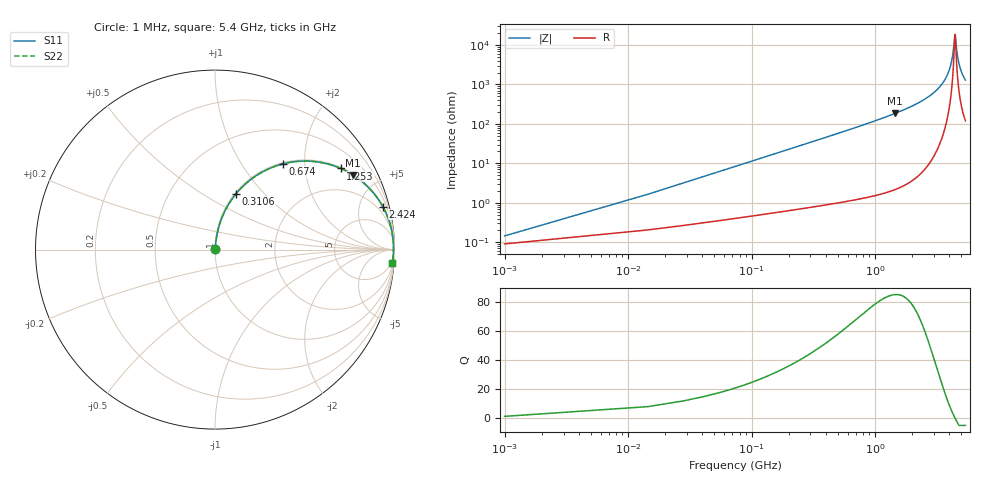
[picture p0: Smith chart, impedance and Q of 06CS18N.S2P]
! Coilcraft 0603CS-18N Chip Inductor
! 21 May 2002
# MHZ S MA R 50
!Freq  MagS11  AngS11  MagS21  AngS21  MagS12  AngS12  MagS22  AngS22
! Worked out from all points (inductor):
!   403 points, 1 MHz to 5.4 GHz, reference 50 ohm
!   read as one part in series: L = 18 nH near 27.92 MHz
!   highest Q = 85 at 1.455 GHz (marker M1), where L = 20.2 nH
!   self-resonance near 4.443 GHz
!   S11 on the Smith chart (normalised r, x): 1 MHz: 1.00, +0.00; 310.6 MHz: 1.02, +0.71; 674 MHz: 1.02, +1.56; 1.253 GHz: 1.04, +3.08; 2.424 GHz: 1.12, +7.79; 5.4 GHz: 3, -26
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1  0.00145 51.1  0.9991 -0.1  0.9991 -0.1  0.00145 51.1
41.38  0.04671 83.5  0.9958 -2.7  0.9958 -2.7  0.04671 83.5
81.76  0.09182 82.1  0.9916 -5.3  0.9916 -5.3  0.09182 82.1
175.98  0.1945 77.1  0.9751 -11.2  0.9751 -11.2  0.1945 77.1
310.58  0.3306 69.4  0.9365 -19.3  0.9365 -19.3  0.3306 69.4
674  0.6107 51.5  0.7827 -37.6  0.7827 -37.6  0.6107 51.5
902.82  0.7242 42.8  0.6801 -46.4  0.6801 -46.4  0.7242 42.8
1252.78  0.8339 32.8  0.542 -56.5  0.542 -56.5  0.8339 32.8
1454.68  0.8745 28.3  0.4748 -61.0  0.4748 -61.0  0.8745 28.3
1804.64  0.9215 22.2  0.3773 -67.1  0.3773 -67.1  0.9215 22.2
2423.8  0.965 14.3  0.2477 -74.8  0.2477 -74.8  0.965 14.3
2706.46  0.9758 11.6  0.201 -77.3  0.201 -77.3  0.9758 11.6
3608.28  0.9922 4.8  0.08357 -82.3  0.08357 -82.3  0.9922 4.8
3917.86  0.9941 2.9  0.05087 -81.9  0.05087 -81.9  0.9941 2.9
4133.22  0.9946 1.7  0.02986 -78.8  0.02986 -78.8  0.9946 1.7
4281.28  0.9948 0.9  0.01636 -70.8  0.01636 -70.8  0.9948 0.9
4442.8  0.9946 0.1  0.005448 -9.5  0.005448 -9.5  0.9946 0.1
4510.1  0.9945 -0.3  0.007438 42.3  0.007438 42.3  0.9945 -0.3
4631.24  0.9942 -0.9  0.0165 69.0  0.0165 69.0  0.9942 -0.9
4806.22  0.9936 -1.7  0.03072 77.1  0.03072 77.1  0.9936 -1.7
5061.96  0.9923 -2.9  0.05102 79.8  0.05102 79.8  0.9923 -2.9
5400  0.99 -4.4  0.07655 80.3  0.07655 80.3  0.99 -4.4
